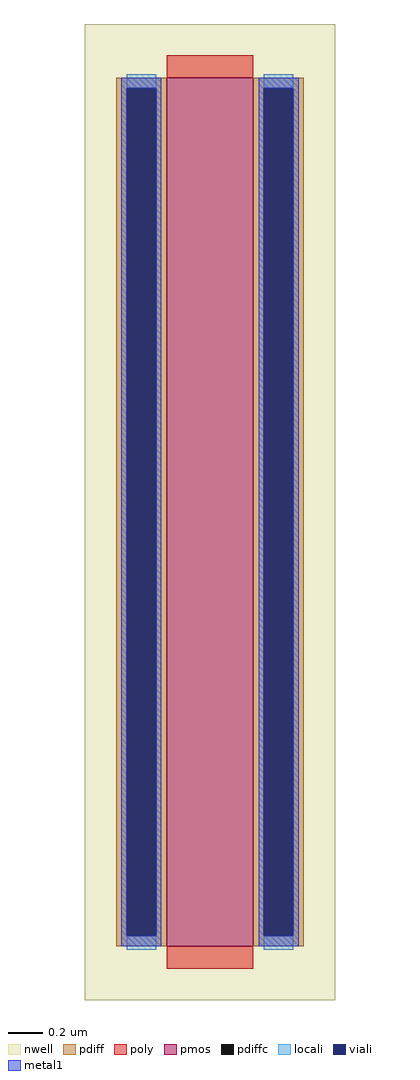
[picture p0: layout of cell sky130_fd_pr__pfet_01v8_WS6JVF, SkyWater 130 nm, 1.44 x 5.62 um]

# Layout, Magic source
magic
tech sky130A
<< nwell >>
rect -72 -281 72 281
<< pmos >>
rect -25 -250 25 250
<< pdiff >>
rect -54 244 -25 250
rect -54 -244 -48 244
rect -31 -244 -25 244
rect -54 -250 -25 -244
rect 25 244 54 250
rect 25 -244 31 244
rect 48 -244 54 244
rect 25 -250 54 -244
<< pdiffc >>
rect -48 -244 -31 244
rect 31 -244 48 244
<< poly >>
rect -25 250 25 263
rect -25 -263 25 -250
<< locali >>
rect -48 244 -31 252
rect -48 -252 -31 -244
rect 31 244 48 252
rect 31 -252 48 -244
<< viali >>
rect -48 -244 -31 244
rect 31 -244 48 244
<< metal1 >>
rect -51 244 -28 250
rect -51 -244 -48 244
rect -31 -244 -28 244
rect -51 -250 -28 -244
rect 28 244 51 250
rect 28 -244 31 244
rect 48 -244 51 244
rect 28 -250 51 -244
<< properties >>
string gencell sky130_fd_pr__pfet_01v8
string library sky130
string parameters w 5 l 0.5 m 1 nf 1 diffcov 100 polycov 100 guard 0 glc 0 grc 0 gtc 0 gbc 0 tbcov 100 rlcov 100 topc 0 botc 0 poverlap 0 doverlap 1 lmin 0.15 wmin 0.42 compatible {sky130_fd_pr__pfet_01v8  sky130_fd_pr__pfet_01v8_lvt sky130_fd_pr__pfet_01v8_hvt  sky130_fd_pr__pfet_g5v0d10v5} full_metal 0 viasrc 100 viadrn 100 viagate 100 viagb 0 viagr 0 viagl 0 viagt 0
<< end >>
